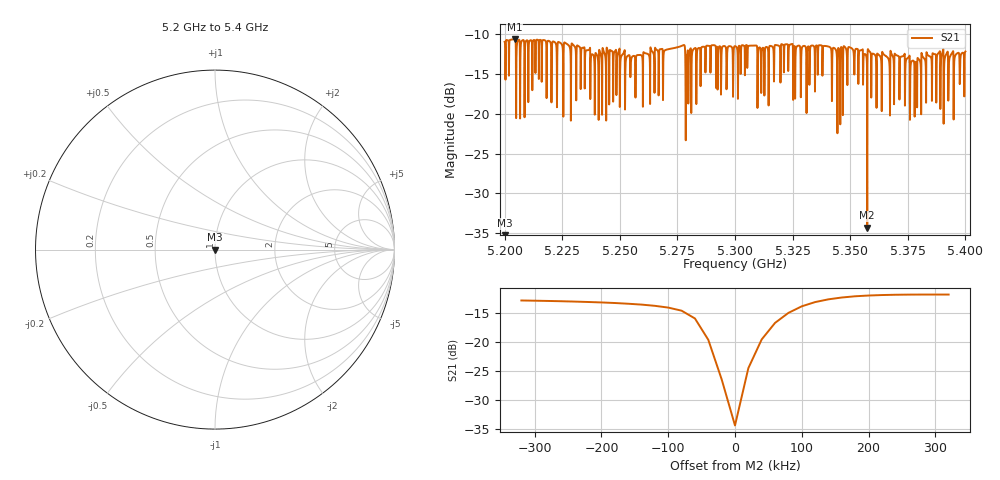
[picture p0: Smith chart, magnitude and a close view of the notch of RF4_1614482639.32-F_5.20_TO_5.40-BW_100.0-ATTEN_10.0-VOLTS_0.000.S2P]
!Keysight Technologies,E5063A,MY54502693,A.05.04
!Date: Sat Feb 27 20:24:18 2021
!Data & Calibration Information:
!Freq	S11:NONE(--)	S21:NONE(--)	S12:NONE(--)	S22:NONE(--)
# Hz S RI R 50
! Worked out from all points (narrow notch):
!   10000 points, 5.2 GHz to 5.4 GHz, reference 50 ohm
!   highest |S21| = -10.60 dB at 5.2044 GHz (marker M1); lowest = -34.3 dB at 5.3574 GHz (marker M2)
!   notch at M2: 22.3 dB deep, 55.1 kHz wide at half that depth
!   lowest |S11| = - dB at 5.2 GHz (marker M3), VSWR 1.00, Z = 50 + j0 ohm
!   |S11| at or under -10 dB: start of sweep to end of sweep
!   S12 and S22 are empty: the file has one direction only
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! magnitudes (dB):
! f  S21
! 5.2 GHz  -11.0
! 5.2044 GHz  -10.6
! 5.2333 GHz  -11.8
! 5.2399 GHz  -12.5
! 5.2667 GHz  -12.2
! 5.2773 GHz  -11.4
! 5.2793 GHz  -12.3
! 5.2821 GHz  -11.8
! 5.3 GHz  -11.5
! 5.3242 GHz  -11.3
! 5.3317 GHz  -11.5
! 5.3334 GHz  -11.4
! 5.3433 GHz  -11.8
! 5.3449 GHz  -11.7
! 5.35 GHz  -11.7
! 5.3574 GHz  -34.3
! 5.3667 GHz  -13.1
! 5.3727 GHz  -12.8
! 5.3781 GHz  -14.1
! 5.384 GHz  -12.7
! 5.3901 GHz  -12.3
! 5.4 GHz  -12.2
